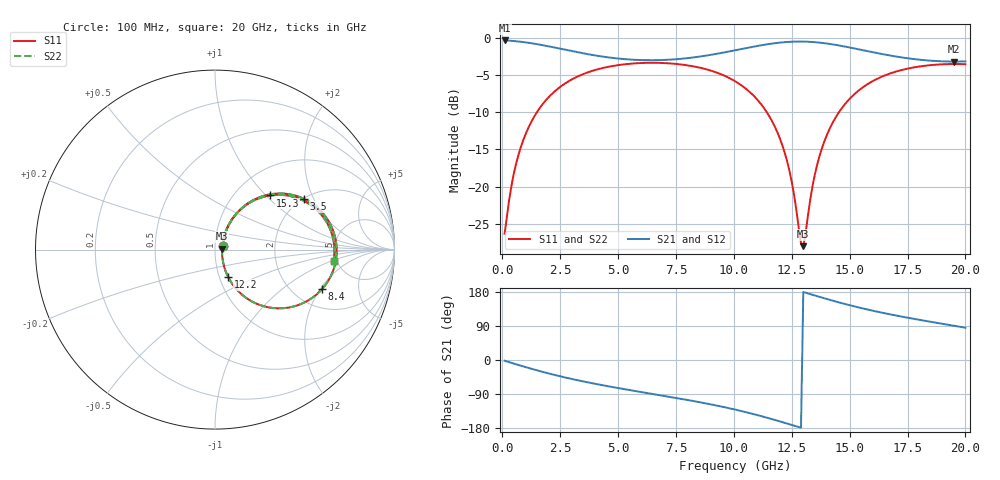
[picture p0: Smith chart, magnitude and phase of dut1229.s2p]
! Touchstone file exported from HFSS 2026.1.0
!  File:  C:/ffzhzh/LocalFiles/Ansys_Project_Files/temp_train_TSV_RDL_1229_1783322485_30076.aedt
!  Generated:  03:33:43 PM Jul  6, 2026
!  Design:  TSV_RDL
!  Project:  temp_train_TSV_RDL_1229_1783322485_30076
! Variables:
!  h_bsmrdl = 3.23um
!  h_ox = 20um
!  h_rdl = 5um
!  h_sub = 56.48um
!  h_tmrdl = 2.35um
!  h_tsv = 56.48um
!  h_via = 3um
!  l_bsmrdl = 887.98um
!  l_sub = 4927.42um
!  l_tmrdl = 443.58um
!  m_sub = 200um
!  pitch = 48.19um
!  r_tsv = 2.87um
!  s_tmrdl = 10um
!  w_bsmrdl = 13.3um
!  w_sub = 500um
!  w_tmrdl = 16.42um
!  x_tsv_center1 = 451.79um
!  x_tsv_center2 = 1353.07um
!  x_tsv_center3 = 1813.07um
!  x_tsv_center4 = 2714.35um
!  x_tsv_center5 = 3174.35um
!  x_tsv_center6 = 4075.63um
# GHz S MA R 50.000000
! Terminal data exported
! Port[1] = TM_RDL1_1_T1
! Port[2] = TM_RDL5_1_T1
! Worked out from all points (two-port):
!   200 points, 100 MHz to 20 GHz, reference 50 ohm
!   highest |S21| = -0.38 dB at 100 MHz (marker M1); lowest = -3.2 dB at 19.5 GHz (marker M2)
!   |S21| within 3 dB of the highest: start of sweep to end of sweep
!   lowest |S11| = -28.0 dB at 13 GHz (marker M3), VSWR 1.08, Z = 54.1 + j0.63 ohm
!   |S11| at or under -10 dB: start of sweep to 1.497 GHz; 11.42 GHz to 14.54 GHz (3.12 GHz wide, 24 % of centre)
!   |S22| runs from -27.9 to -3.4 dB; largest |S21 - S12| = 1.6e-14
!   S11 on the Smith chart (normalised r, x): 100 MHz: 1.09, +0.05; 3.5 GHz: 2.01, +1.69; 8.4 GHz: 2.81, -2.08; 12.2 GHz: 1.10, -0.34; 15.3 GHz: 1.43, +1.06; 20 GHz: 4.70, -1.04
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0.1  0.04838 27.2  0.9575 -1.9  0.9575 -1.9  0.04838 27.2
! Gamma 0 0 0 0
! Port Impedance 50 0 50 0
0.4  0.1024 57.0  0.9519 -7.7  0.9519 -7.7  0.1024 57.0
0.6  0.1435 60.4  0.9458 -11.4  0.9458 -11.4  0.1435 60.4
1.2  0.2623 57.9  0.9205 -22.1  0.9205 -22.1  0.2623 57.9
2.2  0.4275 45.8  0.8621 -38.5  0.8621 -38.5  0.4275 45.8
3.5  0.5701 29.8  0.7846 -56.6  0.7846 -56.6  0.5701 29.8
5.1  0.6574 12.5  0.7218 -75.1  0.7218 -75.1  0.6574 12.5
6.8  0.6771 -4.2  0.7068 -92.8  0.7068 -92.8  0.6771 -4.2
8.4  0.6353 -20.4  0.7417 -109.9  0.7417 -109.9  0.6353 -20.4
10.1  0.5052 -40.2  0.8253 -131.5  0.8253 -131.5  0.5052 -40.2
11.4  0.32 -57.2  0.9005 -151.7  0.9005 -151.7  0.32 -57.1
12.2  0.1685 -64.4  0.9327 -165.8  0.9327 -165.8  0.1685 -64.3
12.5  0.1081 -61.9  0.9391 -171.3  0.9391 -171.3  0.1082 -61.7
12.9  0.04182 -20.5  0.9416 -178.7  0.9416 -178.7  0.0422 -20.2
13  0.03994 8.4  0.9412 179.4  0.9412 179.4  0.04038 8.3
13.4  0.1012 57.8  0.935 172.0  0.935 172.0  0.1014 57.6
13.7  0.1606 61.2  0.9261 166.5  0.9261 166.5  0.1608 61.0
14.1  0.2379 59.0  0.9094 159.5  0.9094 159.5  0.238 58.9
15.3  0.4303 44.5  0.8407 140.0  0.8407 140.0  0.4304 44.4
16.7  0.5717 27.7  0.7611 121.1  0.7611 121.1  0.5717 27.6
19.5  0.6655 -0.6  0.6913 90.4  0.6913 90.4  0.6656 -0.7
20  0.6633 -5.4  0.6932 85.2  0.6932 85.2  0.6633 -5.4
